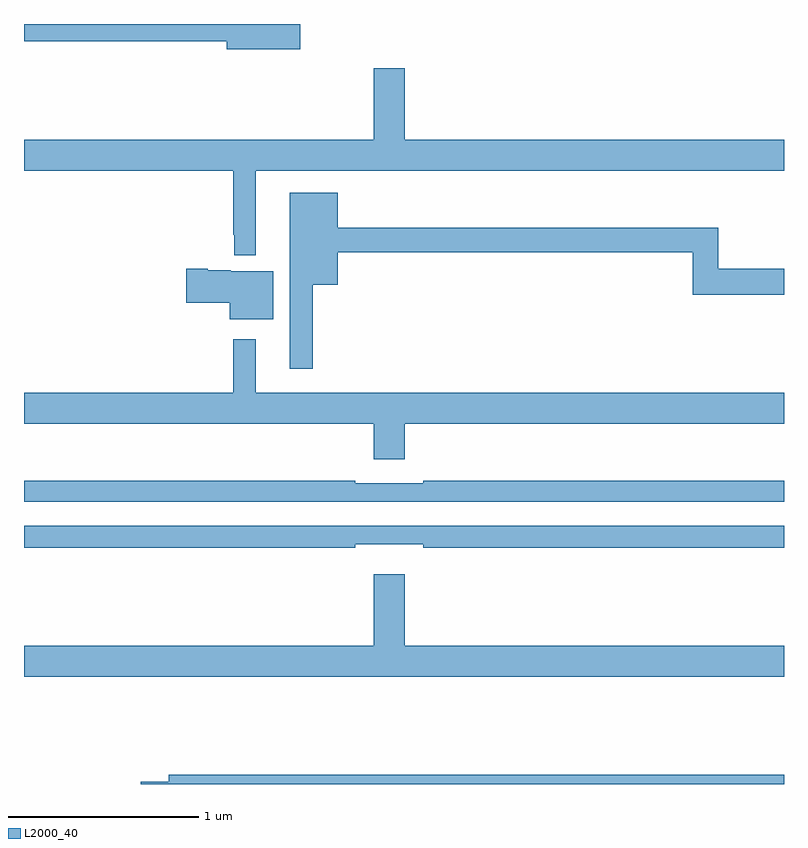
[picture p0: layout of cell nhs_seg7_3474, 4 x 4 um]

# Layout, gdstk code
import gdstk
lib = gdstk.Library(unit=1e-6, precision=1e-09)
def P(c, l, *ps):  # polygons
    for p in ps: c.add(gdstk.Polygon(p, *l))
L2000_40 = (2000, 40)

nhs_seg7_3474 = lib.new_cell('nhs_seg7_3474')
P(nhs_seg7_3474, L2000_40, [(332.455,1056),(331,1056),(331,1055.908),(332.066,1055.908),(332.066,1055.866),(332.455,1055.866)],
  [(332.221,1055.228),(335,1055.228),(335,1055.392),(333.004,1055.392),(333.004,1055.767),(332.84,1055.767),(332.84,1055.392),(331,1055.392),(331,1055.228),(332.1,1055.228),(332.1,1054.891),(332.107,1054.891),(332.107,1054.784),(332.221,1054.784)],
  [(332.521,1054.628),(332.65,1054.628),(332.65,1054.798),(334.519,1054.798),(334.519,1054.576),(335,1054.576),(335,1054.712),(334.655,1054.712),(334.655,1054.927),(332.65,1054.927),(332.65,1055.113),(332.399,1055.113),(332.399,1054.185),(332.521,1054.185)],
  [(332.311,1054.699),(332.088,1054.699),(332.088,1054.705),(331.966,1054.705),(331.966,1054.712),(331.854,1054.712),(331.854,1054.534),(332.084,1054.534),(332.084,1054.445),(332.311,1054.445)],
  [(333.004,1053.896),(335,1053.896),(335,1054.06),(332.221,1054.06),(332.221,1054.342),(332.1,1054.342),(332.1,1054.06),(331,1054.06),(331,1053.896),(332.84,1053.896),(332.84,1053.708),(333.004,1053.708)],
  [(335,1053.595),(333.1,1053.595),(333.1,1053.582),(332.744,1053.582),(332.744,1053.595),(331,1053.595),(331,1053.486),(335,1053.486)],
  [(332.744,1053.263),(333.1,1053.263),(333.1,1053.244),(335,1053.244),(335,1053.36),(331,1053.36),(331,1053.244),(332.744,1053.244)],
  [(335,1052.728),(333.004,1052.728),(333.004,1053.103),(332.84,1053.103),(332.84,1052.728),(331,1052.728),(331,1052.564),(335,1052.564)],
  [(335,1052.048),(331.763,1052.048),(331.763,1052.012),(331.614,1052.012),(331.614,1052),(335,1052)])

lib.write_gds('nhs_seg7_3474.gds')
